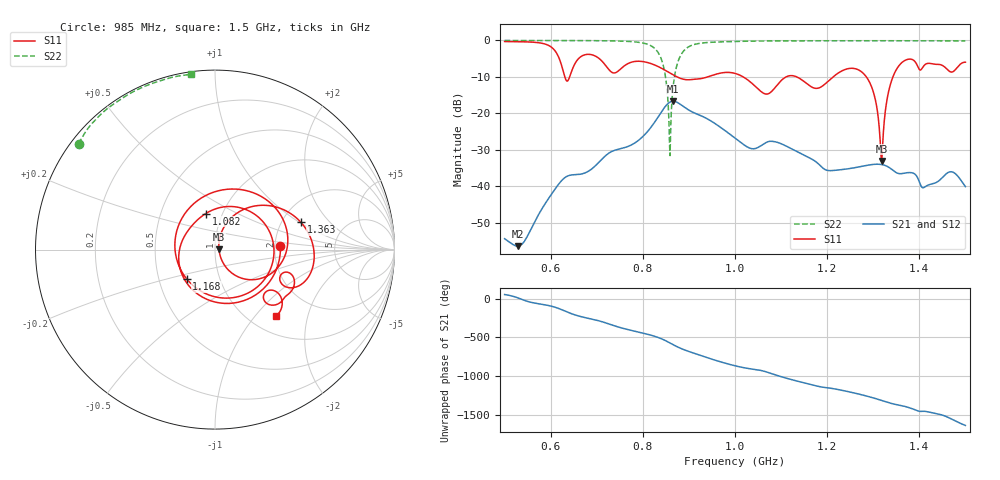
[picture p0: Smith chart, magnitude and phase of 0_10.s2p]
! TOUCHSTONE file generated by CST MICROWAVE STUDIO
! Date and time: Sat Oct 24 10:42:41 2020
! Project name: Scenario_1_Planar_Body_Tissue_Center.cst
! Parameters = {hfat=3; hmuscle=50; hskin=1.5; hgap=25; Wtissue=700; Ltissue=700; L_HA=400; MT=2.54; Rad_Dielectric=30; Rad_Lower=7.3; Rad_Upper=30; a_HA=580; a_WG=246; b_HA=500; b_WG=121; c_HA=0; c_WG=187; d_feed=85; dx1=328.88; h_feed=15; h_lower=18; h_upper=40}
! Header version: 2018
! Port assignment regex: !\s*Touchstone port\s*([0-9]+)\s*=\s*(CST MWS port|CST DS port)\s*([0-9]+|Zmin|Zmax)\s*\(\"(.*)\"\)(\s*mode\s*([0-9]+))?.*
! Touchstone port assignment:
! Touchstone port 1 = CST MWS port 1 ("")
! Touchstone port 2 = CST MWS port 2 ("")
# GHz S DB R 50
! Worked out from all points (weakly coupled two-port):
!   1003 points, 500 MHz to 1.5 GHz, reference 50 ohm
!   highest |S21| = -16.68 dB at 866 MHz (marker M1); lowest = -56.4 dB at 528 MHz (marker M2)
!   lowest |S11| = -33.0 dB at 1.318 GHz (marker M3), VSWR 1.05, Z = 52.3 + j0.201 ohm
!   |S11| at or under -10 dB: 874.2 MHz to 940.8 MHz (66.58 MHz wide, 7.34 % of centre); 1.018 GHz to 1.111 GHz (93.19 MHz wide, 8.76 % of centre); 1.134 GHz to 1.213 GHz (78.86 MHz wide, 6.72 % of centre) (the widest 3 of 5)
!   |S22| runs from -31.6 to 0.0 dB; largest |S21 - S12| = 3e-05
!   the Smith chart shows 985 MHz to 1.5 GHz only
!   S11 on the Smith chart (normalised r, x): 985 MHz: 2.14, +0.09; 1.082 GHz: 0.84, +0.35; 1.168 GHz: 0.69, -0.24; 1.363 GHz: 2.54, +1.03; 1.5 GHz: 1.31, -1.30
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0.5  -0.30 -122.2  -54.38 52.6  -54.38 52.6  -0.01 151.1
0.528  -0.34 -133.4  -56.43 11.3  -56.48 11.2  -0.01 149.3
0.614  -3.74 156.3  -39.97 -120.6  -39.99 -120.7  -0.02 143.0
0.667  -4.32 169.5  -36.63 124.9  -36.63 124.9  -0.04 138.3
0.726  -7.95 20.1  -30.94 32.9  -30.94 32.9  -0.10 131.4
0.75  -8.02 -96.1  -29.75 -13.1  -29.75 -13.1  -0.17 127.4
0.778  -5.88 177.4  -28.47 -55.4  -28.47 -55.4  -0.35 120.8
0.834  -7.21 49.1  -20.84 -144.8  -20.84 -144.8  -3.49 84.9
0.858  -8.88 -13.4  -16.98 148.8  -16.98 148.8  -28.79 2.1
0.866  -9.46 -35.8  -16.68 122.8  -16.68 122.8  -12.41 -143.5
0.915  -10.63 177.1  -20.07 5.4  -20.07 5.4  -1.00 160.3
0.985  -8.76 2.8  -25.35 -126.1  -25.35 -126.1  -0.34 142.2
1  -9.04 -30.1  -26.78 -149.2  -26.78 -149.2  -0.29 140.2
1.082  -13.66 104.3  -27.69 103.7  -27.69 103.7  -0.13 131.3
1.167  -12.82 -131.0  -32.58 -35.3  -32.57 -35.3  -0.10 124.1
1.168  -12.88 -134.2  -32.65 -36.8  -32.65 -36.8  -0.10 124.1
1.221  -9.21 76.6  -35.58 -93.8  -35.58 -93.8  -0.09 120.0
1.275  -8.64 -14.0  -34.54 -164.6  -34.54 -164.6  -0.08 115.9
1.318  -33.03 4.9  -34.04 122.5  -34.04 122.5  -0.08 112.7
1.334  -13.66 62.1  -34.81 92.5  -34.81 92.5  -0.09 111.5
1.363  -5.98 17.6  -36.51 53.2  -36.51 53.2  -0.09 109.2
1.5  -5.97 -47.2  -40.10 158.3  -40.10 158.3  -0.13 97.9
